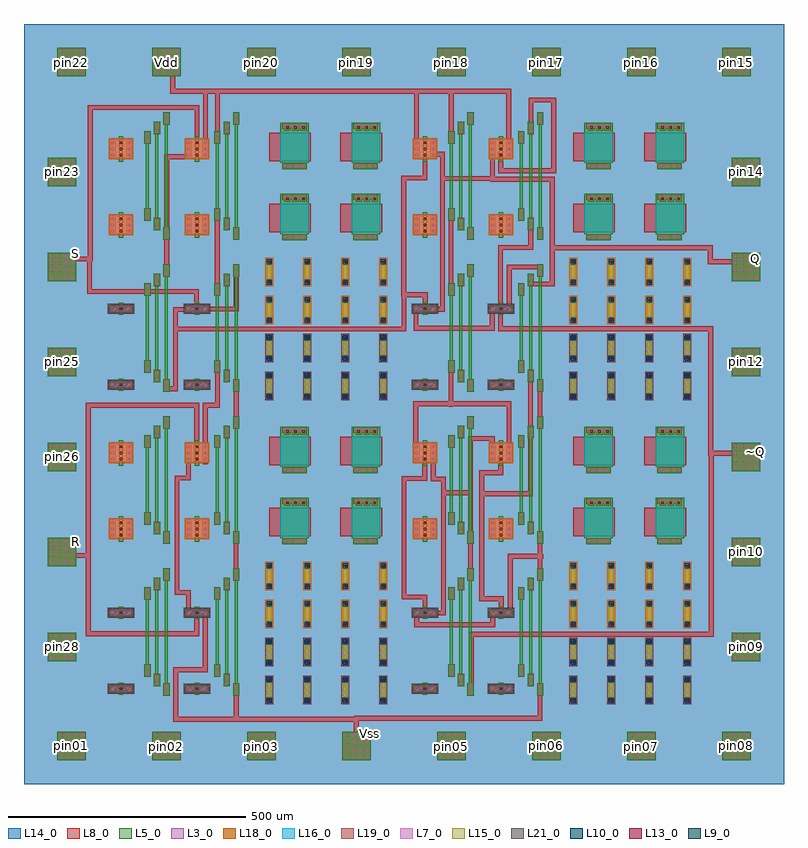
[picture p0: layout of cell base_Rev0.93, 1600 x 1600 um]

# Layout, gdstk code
from math import pi, radians
import gdstk
lib = gdstk.Library(unit=1e-6, precision=1e-09)
def R(c, l, rs):  # rectangles x0, y0, x1, y1
    for r in rs: c.add(gdstk.rectangle(r[:2], r[2:], *l))
L3_0 = (3, 0)
L5_0 = (5, 0)
L7_0 = (7, 0)
L8_0 = (8, 0)
L9_0 = (9, 0)
L10_0 = (10, 0)
L13_0 = (13, 0)
L14_0 = (14, 0)
L15_0 = (15, 0)
L16_0 = (16, 0)
L18_0 = (18, 0)
L19_0 = (19, 0)
L21_0 = (21, 0)

c_16_5x5_flame = lib.new_cell('16_5x5_flame')
R(c_16_5x5_flame, L14_0, [(-800,-800,800,800), (-750,-750,750,750)])

dcont = lib.new_cell('dcont')
R(dcont, L3_0, [(-6.5,-6.5,6.5,6.5)])
R(dcont, L7_0, [(-2.5,-2.5,2.5,2.5)])
R(dcont, L8_0, [(-6.5,-6.5,6.5,6.5)])

pcont_min = lib.new_cell('pcont_min')
R(pcont_min, L5_0, [(-4.5,-6.5,4.5,6.5)])
R(pcont_min, L7_0, [(-2.5,-2.5,2.5,2.5)])
R(pcont_min, L8_0, [(-4.5,-6.5,4.5,6.5)])
R(pcont_min, L13_0, [(-2.5,-2.5,2.5,2.5)])

pch_1 = lib.new_cell('Pch$1')
R(pch_1, L3_0, [(0,17,48,57)])
R(pch_1, L18_0, [(-2,15,50,59)])
pch_1.add(gdstk.FlexPath([(6.5,17),(6.5,57)], 13, ends="flush", simple_path=True, layer=8, datatype=0))  # L8_0
pch_1.add(gdstk.FlexPath([(41.5,17),(41.5,57)], 13, ends="flush", simple_path=True, layer=8, datatype=0))  # L8_0
pch_1.add(gdstk.FlexPath([(24,17),(24,57)], 10, ends=(6.5, 6.5), simple_path=True, layer=5, datatype=0))  # L5_0
pch_1.add(gdstk.Reference(dcont, (6.5,24)))
pch_1.add(gdstk.Reference(dcont, (6.5,37)))
pch_1.add(gdstk.Reference(dcont, (6.5,50)))
pch_1.add(gdstk.Reference(dcont, (41.5,24)))
pch_1.add(gdstk.Reference(dcont, (41.5,37)))
pch_1.add(gdstk.Reference(dcont, (41.5,50)))
pch_1.add(gdstk.Reference(pcont_min, (24,24)))
pch_1.add(gdstk.Reference(pcont_min, (24,37)))
pch_1.add(gdstk.Reference(pcont_min, (24,50)))

tin_m1 = lib.new_cell('tin_M1')
R(tin_m1, L5_0, [(-7,-7,6,6)])
R(tin_m1, L7_0, [(-3,-3.28,2,1.72)])
R(tin_m1, L8_0, [(-7,-7,6,6)])

v_tin_line3 = lib.new_cell('V_tin_line3')
v_tin_line3.add(gdstk.FlexPath([(-20.5,74),(-20.5,-74)], 6, ends="extended", simple_path=True, layer=5, datatype=0))  # L5_0
v_tin_line3.add(gdstk.FlexPath([(-0.5,94),(-0.5,-94)], 6, ends="extended", simple_path=True, layer=5, datatype=0))  # L5_0
v_tin_line3.add(gdstk.FlexPath([(19.5,114),(19.5,-114)], 6, ends="extended", simple_path=True, layer=5, datatype=0))  # L5_0
r = gdstk.Reference(tin_m1, (-20.5,74), rotation=pi); r.repetition = gdstk.Repetition(2, 3, v1=(0,13), v2=(20,20)); v_tin_line3.add(r)
r = gdstk.Reference(tin_m1, (-20.5,-88), rotation=pi); r.repetition = gdstk.Repetition(2, 3, v1=(0,13), v2=(20,-20)); v_tin_line3.add(r)

pmos_array = lib.new_cell('pmos_array')
R(pmos_array, L14_0, [(-160,-160,160,160)])
r = gdstk.Reference(pch_1, (-140,-140)); r.repetition = gdstk.Repetition(2, 2, v1=(160,0), v2=(0,160)); pmos_array.add(r)
pmos_array.add(gdstk.Reference(v_tin_line3, (-40,0)))
pmos_array.add(gdstk.Reference(v_tin_line3, (107,0)))

nch_1 = lib.new_cell('Nch$1')
R(nch_1, L3_0, [(0,18.5,48,28.5)])
R(nch_1, L19_0, [(-2,15,50,32)])
R(nch_1, L21_0, [(-4,13,52,34)])
nch_1.add(gdstk.FlexPath([(6.5,17),(6.5,30)], 13, ends="flush", simple_path=True, layer=8, datatype=0))  # L8_0
nch_1.add(gdstk.FlexPath([(41.5,17),(41.5,30)], 13, ends="flush", simple_path=True, layer=8, datatype=0))  # L8_0
nch_1.add(gdstk.FlexPath([(24,17),(24,30)], 10, ends=(6.5, 6.5), simple_path=True, layer=5, datatype=0))  # L5_0
nch_1.add(gdstk.Reference(dcont, (6.5,23.5)))
nch_1.add(gdstk.Reference(dcont, (41.5,23.5)))
nch_1.add(gdstk.Reference(pcont_min, (24,23.5)))

nmos_array = lib.new_cell('nmos_array')
R(nmos_array, L14_0, [(-160,-160,160,160)])
r = gdstk.Reference(nch_1, (-140,-143)); r.repetition = gdstk.Repetition(2, 2, v1=(160,0), v2=(0,160)); nmos_array.add(r)
nmos_array.add(gdstk.Reference(v_tin_line3, (-40,0)))
nmos_array.add(gdstk.Reference(v_tin_line3, (107,0)))

via = lib.new_cell('Via')
R(via, L8_0, [(-6.5,-6.5,6.5,6.5)])
R(via, L9_0, [(-2.5,-2.5,2.5,2.5)])
R(via, L10_0, [(-5,-5,5,5)])
R(via, L13_0, [(-2.5,-2.5,2.5,2.5)])

r_ndiff = lib.new_cell('R_ndiff')
R(r_ndiff, L19_0, [(-2,-2,15,58)])
r_ndiff.add(gdstk.FlexPath([(6.5,0),(6.5,56)], 10, ends="flush", simple_path=True, layer=3, datatype=0))  # L3_0
r_ndiff.add(gdstk.FlexPath([(6.5,13),(6.5,43)], 10, ends="flush", simple_path=True, layer=15, datatype=0))  # L15_0
r_ndiff.add(gdstk.Reference(dcont, (6.5,6.5), rotation=pi/2))
r_ndiff.add(gdstk.Reference(via, (6.5,6.5)))
r_ndiff.add(gdstk.Reference(dcont, (6.5,49.5), rotation=pi/2))
r_ndiff.add(gdstk.Reference(via, (6.5,49.5)))

r_pdiff_1 = lib.new_cell('R_pdiff$1')
R(r_pdiff_1, L18_0, [(-2,-2,15,58)])
r_pdiff_1.add(gdstk.FlexPath([(6.5,0),(6.5,56)], 10, ends="flush", simple_path=True, layer=3, datatype=0))  # L3_0
r_pdiff_1.add(gdstk.FlexPath([(6.5,13),(6.5,43)], 10, ends="flush", simple_path=True, layer=15, datatype=0))  # L15_0
r_pdiff_1.add(gdstk.Reference(dcont, (6.5,6.5), rotation=pi/2))
r_pdiff_1.add(gdstk.Reference(via, (6.5,6.5)))
r_pdiff_1.add(gdstk.Reference(dcont, (6.5,49.5), rotation=pi/2))
r_pdiff_1.add(gdstk.Reference(via, (6.5,49.5)))

resistor_array = lib.new_cell('resistor_array')
R(resistor_array, L14_0, [(-160,-160,160,160)])
r = gdstk.Reference(r_ndiff, (-130,-150)); r.repetition = gdstk.Repetition(4, 2, v1=(80,0), v2=(0,80)); resistor_array.add(r)
r = gdstk.Reference(r_pdiff_1, (-130,10)); r.repetition = gdstk.Repetition(4, 2, v1=(80,0), v2=(0,80)); resistor_array.add(r)

pcont = lib.new_cell('pcont')
R(pcont, L5_0, [(-6.5,-6.5,6.5,6.5)])
R(pcont, L7_0, [(-2.5,-2.5,2.5,2.5)])
R(pcont, L8_0, [(-6.5,-6.5,6.5,6.5)])
R(pcont, L13_0, [(-2.5,-2.5,2.5,2.5)])

tin_cap = lib.new_cell('TIN_cap')
R(tin_cap, L5_0, [(23.5,-4,83.5,81)])
R(tin_cap, L8_0, [(0,0,87.5,60)])
R(tin_cap, L16_0, [(23.5,0,83.5,60)])
tin_cap.add(gdstk.Reference(pcont, (38.25,70.5)))
tin_cap.add(gdstk.Reference(pcont, (55.25,70.5)))
tin_cap.add(gdstk.Reference(pcont, (72.25,70.5)))

cap_con = lib.new_cell('cap_con')
cap_con.add(gdstk.Reference(tin_cap, (-43.75,-38.5)))
r = gdstk.Reference(tin_m1, (28.25,35.5), rotation=pi); r.repetition = gdstk.Repetition(4, 1, v1=(-13,0), v2=(0,0)); cap_con.add(r)
r = gdstk.Reference(tin_m1, (28.25,-49.5), rotation=pi); r.repetition = gdstk.Repetition(4, 1, v1=(-13,0), v2=(0,0)); cap_con.add(r)

tin_m1_cap_array = lib.new_cell('tin_m1_cap_array')
R(tin_m1_cap_array, L14_0, [(-160,-160,160,160)])
r = gdstk.Reference(cap_con, (-80,-80)); r.repetition = gdstk.Repetition(2, 2, v1=(150,0), v2=(0,150)); tin_m1_cap_array.add(r)

base_array = lib.new_cell('base_array')
base_array.add(gdstk.Reference(pmos_array, (-160,160)))
base_array.add(gdstk.Reference(nmos_array, (-160,-160)))
base_array.add(gdstk.Reference(resistor_array, (160,-160)))
base_array.add(gdstk.Reference(tin_m1_cap_array, (160,160)))

pad_60_m1_tin = lib.new_cell('pad_60_m1_tin')
R(pad_60_m1_tin, L5_0, [(-30,-30,30,30), (-30,-30,30,30)])
R(pad_60_m1_tin, L8_0, [(-30,-30,30,30)])
r = gdstk.Reference(tin_m1, (22,-23), rotation=pi/2); r.repetition = gdstk.Repetition(4, 4, v1=(0,15), v2=(-15,0)); pad_60_m1_tin.add(r)

base_rev0_93 = lib.new_cell('base_Rev0.93')
base_rev0_93.add(gdstk.FlexPath([(-453.556,-83.463),(-453.556,-155.534),(-477.994,-155.534),(-477.994,-397.017),(-453.556,-397.017),(-453.556,-447.964)], 10, ends="flush", simple_path=True, layer=8, datatype=0))  # L8_0
base_rev0_93.add(gdstk.FlexPath([(-702.82,-318.975),(-659.812,-318.975)], 10, ends="flush", simple_path=True, layer=8, datatype=0))  # L8_0
base_rev0_93.add(gdstk.FlexPath([(-436.242,-125.256),(-436.242,-2.848),(-664.672,-2.848),(-664.672,-483.456),(-436.211,-483.456),(-436.211,-426.503)], 10, ends="flush", simple_path=True, layer=8, datatype=0))  # L8_0
base_rev0_93.add(gdstk.FlexPath([(-392.876,91.747),(-392.876,-2.621),(-418.434,-2.621),(-418.434,-126.48)], 10, ends="flush", simple_path=True, layer=8, datatype=0))  # L8_0
base_rev0_93.add(gdstk.FlexPath([(-419.487,-83.897),(-419.487,-123.809)], 10, ends="flush", simple_path=True, layer=8, datatype=0))  # L8_0
base_rev0_93.add(gdstk.FlexPath([(-392.794,548.846),(-392.794,662.712)], 10, ends="flush", simple_path=True, layer=8, datatype=0))  # L8_0
base_rev0_93.add(gdstk.FlexPath([(-698.507,305.076),(-660.72,305.076),(-660.72,624.044),(-435.664,624.044),(-435.664,547.359)], 10, ends="flush", simple_path=True, layer=8, datatype=0))  # L8_0
base_rev0_93.add(gdstk.FlexPath([(-661.97,306.326),(-661.97,236.865),(-436.914,236.865),(-436.914,196.577)], 10, ends="flush", simple_path=True, layer=8, datatype=0))  # L8_0
base_rev0_93.add(gdstk.FlexPath([(-454.974,520.268),(-499.43,520.268),(-499.43,270.206)], 10, ends="flush", simple_path=True, layer=8, datatype=0))  # L8_0
base_rev0_93.add(gdstk.FlexPath([(-504.126,32.008),(-481.009,32.008),(-481.009,199.161),(-448.112,199.161)], 10, ends="flush", simple_path=True, layer=8, datatype=0))  # L8_0
base_rev0_93.add(gdstk.FlexPath([(-424.255,200.153),(-352.934,200.153),(-352.934,292.101)], 10, ends="flush", simple_path=True, layer=8, datatype=0))  # L8_0
base_rev0_93.add(gdstk.FlexPath([(-393.314,399.004),(-393.314,241.041)], 10, ends="flush", simple_path=True, layer=8, datatype=0))  # L8_0
base_rev0_93.add(gdstk.FlexPath([(-487.101,699.393),(-487.101,658.255),(220.693,658.255),(220.693,545.723)], 10, ends="flush", simple_path=True, layer=8, datatype=0))  # L8_0
base_rev0_93.add(gdstk.FlexPath([(-417.787,662.516),(-417.787,544.521)], 10, ends="flush", simple_path=True, layer=8, datatype=0))  # L8_0
base_rev0_93.add(gdstk.FlexPath([(-353.709,-284.402),(-353.709,-356.099)], 10, ends="flush", simple_path=True, layer=8, datatype=0))  # L8_0
base_rev0_93.add(gdstk.FlexPath([(-353.027,38.239),(-353.027,-36.873)], 10, ends="flush", simple_path=True, layer=8, datatype=0))  # L8_0
base_rev0_93.add(gdstk.FlexPath([(-418.3,-433.161),(-418.3,-559.304),(-480.646,-559.304),(-480.646,-663.698),(-348.704,-663.698),(-348.704,-663.698)], 10, ends="flush", simple_path=True, layer=8, datatype=0))  # L8_0
base_rev0_93.add(gdstk.FlexPath([(-397.719,-663.788),(-98.722,-663.788)], 10, ends="flush", simple_path=True, layer=8, datatype=0))  # L8_0
base_rev0_93.add(gdstk.FlexPath([(-100.295,-659.981),(-100.295,-705.605)], 10, ends="flush", simple_path=True, layer=8, datatype=0))  # L8_0
base_rev0_93.add(gdstk.FlexPath([(-353.083,-601.772),(-353.083,-668.893)], 10, ends="flush", simple_path=True, layer=8, datatype=0))  # L8_0
base_rev0_93.add(gdstk.FlexPath([(203.511,529.905),(203.511,491.1),(315.184,491.1),(315.184,639.853),(267.324,639.853),(267.324,568.71)], 10, ends="flush", simple_path=True, layer=8, datatype=0))  # L8_0
base_rev0_93.add(gdstk.FlexPath([(26.34,544.684),(26.34,663.093)], 10, ends="flush", simple_path=True, layer=8, datatype=0))  # L8_0
base_rev0_93.add(gdstk.FlexPath([(99.561,561.116),(99.561,663.577)], 10, ends="flush", simple_path=True, layer=8, datatype=0))  # L8_0
base_rev0_93.add(gdstk.FlexPath([(56.637,525.593),(81.104,525.593),(81.104,199.363),(55.731,199.363)], 10, ends="flush", simple_path=True, layer=8, datatype=0))  # L8_0
base_rev0_93.add(gdstk.FlexPath([(98.926,397.971),(98.926,240.142)], 10, ends="flush", simple_path=True, layer=8, datatype=0))  # L8_0
base_rev0_93.add(gdstk.FlexPath([(24.543,-98.643),(24.543,0.472),(220.885,0.472),(220.885,-98.643)], 10, ends="flush", simple_path=True, layer=8, datatype=0))  # L8_0
base_rev0_93.add(gdstk.FlexPath([(99.115,77.876),(99.115,-6.136)], 10, ends="flush", simple_path=True, layer=8, datatype=0))  # L8_0
base_rev0_93.add(gdstk.FlexPath([(61.319,-109.952),(61.319,-157.678),(83.068,-157.678),(83.068,-439.807),(55.882,-439.807)], 10, ends="flush", simple_path=True, layer=8, datatype=0))  # L8_0
base_rev0_93.add(gdstk.FlexPath([(26.582,-433.766),(26.582,-464.576),(186.676,-464.576),(186.676,-432.557)], 10, ends="flush", simple_path=True, layer=8, datatype=0))  # L8_0
base_rev0_93.add(gdstk.FlexPath([(43.923,-109.992),(43.923,-157.074),(0,-157.074),(0,-406.372),(44.366,-406.372),(44.366,-446.018)], 10, ends="flush", simple_path=True, layer=8, datatype=0))  # L8_0
base_rev0_93.add(gdstk.FlexPath([(185.841,-96.165),(185.841,-72.566),(139.823,-72.566),(139.823,-372.272)], 10, ends="flush", simple_path=True, layer=8, datatype=0))  # L8_0
base_rev0_93.add(gdstk.FlexPath([(78.466,-187.021),(144.543,-187.021)], 10, ends="flush", simple_path=True, layer=8, datatype=0))  # L8_0
base_rev0_93.add(gdstk.FlexPath([(203.54,-109.145),(203.54,-144.543),(163.422,-144.543),(163.422,-410.03),(204.72,-410.03),(204.72,-447.788)], 10, ends="flush", simple_path=True, layer=8, datatype=0))  # L8_0
base_rev0_93.add(gdstk.FlexPath([(266.077,58.997),(266.077,-188.791),(158.702,-188.791)], 10, ends="flush", simple_path=True, layer=8, datatype=0))  # L8_0
base_rev0_93.add(gdstk.FlexPath([(286.136,36.578),(286.136,-43.658)], 10, ends="flush", simple_path=True, layer=8, datatype=0))  # L8_0
base_rev0_93.add(gdstk.FlexPath([(-104.72,-661.505),(286.136,-661.505),(286.136,-603.983)], 10, ends="flush", simple_path=True, layer=8, datatype=0))  # L8_0
base_rev0_93.add(gdstk.FlexPath([(286.136,-359.145),(286.136,-285.398)], 10, ends="flush", simple_path=True, layer=8, datatype=0))  # L8_0
base_rev0_93.add(gdstk.FlexPath([(266.761,377.204),(266.761,329.629),(203.328,329.629),(203.328,158.584),(646.018,158.584),(646.018,-103.54),(706.195,-103.54)], 10, ends="flush", simple_path=True, layer=8, datatype=0))  # L8_0
base_rev0_93.add(gdstk.FlexPath([(141.593,-612.39),(141.593,-484.956),(647.08,-484.956),(647.08,-99.823)], 10, ends="flush", simple_path=True, layer=8, datatype=0))  # L8_0
base_rev0_93.add(gdstk.FlexPath([(223.717,-449.558),(223.717,-320.708),(293.098,-320.708)], 10, ends="flush", simple_path=True, layer=8, datatype=0))  # L8_0
base_rev0_93.add(gdstk.FlexPath([(25.373,207.519),(25.373,159.49),(185.77,159.49),(185.77,206.613)], 10, ends="flush", simple_path=True, layer=8, datatype=0))  # L8_0
base_rev0_93.add(gdstk.FlexPath([(221.474,193.563),(221.474,288.533),(292.52,288.533)], 10, ends="flush", simple_path=True, layer=8, datatype=0))  # L8_0
base_rev0_93.add(gdstk.FlexPath([(265.968,273.671),(265.968,252.829),(312.184,252.829),(312.184,473.034),(186.223,473.034),(186.223,528.312)], 10, ends="flush", simple_path=True, layer=8, datatype=0))  # L8_0
base_rev0_93.add(gdstk.FlexPath([(190.754,474.846),(76.574,474.846)], 10, ends="flush", simple_path=True, layer=8, datatype=0))  # L8_0
base_rev0_93.add(gdstk.FlexPath([(43.95,530.124),(43.95,475.753),(-0.453,475.753),(-0.453,230.174),(44.857,230.174),(44.857,189.395)], 10, ends="flush", simple_path=True, layer=8, datatype=0))  # L8_0
base_rev0_93.add(gdstk.FlexPath([(0,234.336),(0,157.876),(-484.248,157.876)], 10, ends="flush", simple_path=True, layer=8, datatype=0))  # L8_0
base_rev0_93.add(gdstk.FlexPath([(307.965,329.204),(644.956,329.204),(644.956,299.469),(705.841,299.469)], 10, ends="flush", simple_path=True, layer=8, datatype=0))  # L8_0
base_rev0_93.add(gdstk.Reference(c_16_5x5_flame, (0,0)))
r = gdstk.Reference(base_array, (-320,-320)); r.repetition = gdstk.Repetition(2, 2, v1=(640,0), v2=(0,640)); base_rev0_93.add(r)
r = gdstk.Reference(pad_60_m1_tin, (700,720), rotation=pi/2); r.repetition = gdstk.Repetition(1, 8, v1=(0,0), v2=(-200,0)); base_rev0_93.add(r)
r = gdstk.Reference(pad_60_m1_tin, (700,-720), rotation=pi/2); r.repetition = gdstk.Repetition(1, 8, v1=(0,0), v2=(-200,0)); base_rev0_93.add(r)
r = gdstk.Reference(pad_60_m1_tin, (-720,488), rotation=pi); r.repetition = gdstk.Repetition(1, 6, v1=(0,0), v2=(0,-200)); base_rev0_93.add(r)
r = gdstk.Reference(pad_60_m1_tin, (720,488), rotation=pi); r.repetition = gdstk.Repetition(1, 6, v1=(0,0), v2=(0,-200)); base_rev0_93.add(r)
base_rev0_93.add(gdstk.Label('S', (-691.682,317.683), layer=8, texttype=0))
base_rev0_93.add(gdstk.Label('Vdd', (-499,720), layer=8, texttype=0))
base_rev0_93.add(gdstk.Label('R', (-692.439,-288.605), layer=8, texttype=0))
base_rev0_93.add(gdstk.Label('Vss', (-73.091,-694.199), layer=8, texttype=0))
base_rev0_93.add(gdstk.Label('Q', (740.045,305.31), layer=8, texttype=0))
base_rev0_93.add(gdstk.Label('~Q', (740.045,-99.558), layer=8, texttype=0))
base_rev0_93.add(gdstk.Label('pin01', (-699,-719.5), layer=8, texttype=0))
base_rev0_93.add(gdstk.Label('pin02', (-499,-720), layer=8, texttype=0))
base_rev0_93.add(gdstk.Label('pin03', (-299,-720), layer=8, texttype=0))
base_rev0_93.add(gdstk.Label('pin04', (-99,-720), layer=8, texttype=0))
base_rev0_93.add(gdstk.Label('pin05', (101,-720), layer=8, texttype=0))
base_rev0_93.add(gdstk.Label('pin06', (301,-719.5), layer=8, texttype=0))
base_rev0_93.add(gdstk.Label('pin07', (501,-720), layer=8, texttype=0))
base_rev0_93.add(gdstk.Label('pin08', (701,-719.5), layer=8, texttype=0))
base_rev0_93.add(gdstk.Label('pin09', (720.5,-511), layer=8, texttype=0))
base_rev0_93.add(gdstk.Label('pin10', (720,-311), layer=8, texttype=0))
base_rev0_93.add(gdstk.Label('pin11', (720,-111), layer=8, texttype=0))
base_rev0_93.add(gdstk.Label('pin12', (720,89), layer=8, texttype=0))
base_rev0_93.add(gdstk.Label('pin13', (720,289), layer=8, texttype=0))
base_rev0_93.add(gdstk.Label('pin14', (720,489), layer=8, texttype=0))
base_rev0_93.add(gdstk.Label('pin15', (701,720), layer=8, texttype=0))
base_rev0_93.add(gdstk.Label('pin16', (501,720), layer=8, texttype=0))
base_rev0_93.add(gdstk.Label('pin17', (301,720), layer=8, texttype=0))
base_rev0_93.add(gdstk.Label('pin18', (101,720), layer=8, texttype=0))
base_rev0_93.add(gdstk.Label('pin19', (-99,720), layer=8, texttype=0))
base_rev0_93.add(gdstk.Label('pin20', (-299,720), layer=8, texttype=0))
base_rev0_93.add(gdstk.Label('pin22', (-699,720), layer=8, texttype=0))
base_rev0_93.add(gdstk.Label('pin23', (-720,489), layer=8, texttype=0))
base_rev0_93.add(gdstk.Label('pin24', (-720,289), layer=8, texttype=0))
base_rev0_93.add(gdstk.Label('pin25', (-720,89), layer=8, texttype=0))
base_rev0_93.add(gdstk.Label('pin26', (-720,-111), layer=8, texttype=0))
base_rev0_93.add(gdstk.Label('pin27', (-720,-311), layer=8, texttype=0))
base_rev0_93.add(gdstk.Label('pin28', (-720,-511), layer=8, texttype=0))

lib.write_gds('base_Rev0.93.gds')
